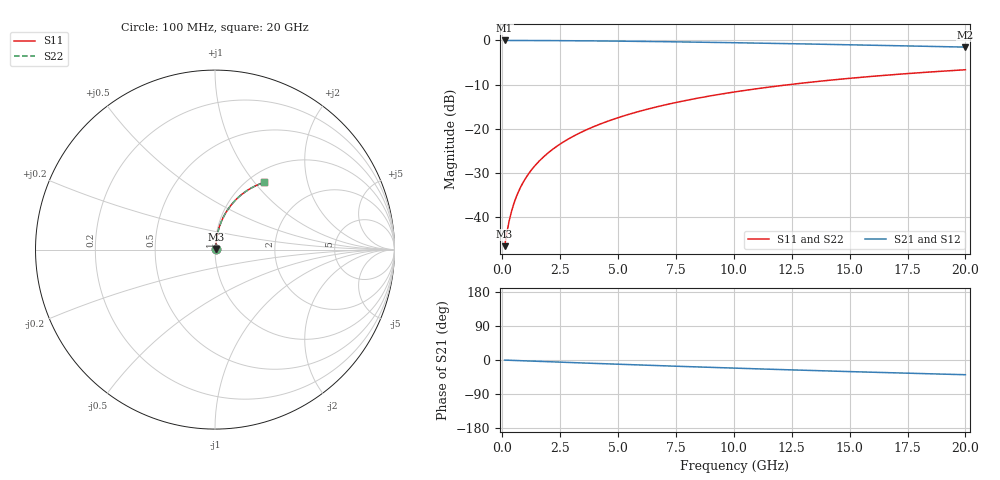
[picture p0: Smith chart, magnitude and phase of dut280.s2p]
! Touchstone file exported from HFSS 2024.1.0
!  File:  C:/UserFiles/LocalFiles/RDL_TSV_Batchsim/temp_RDL_top_280_1778690034.aedt
!  Generated:  12:36:17 AM May 14, 2026
!  Design:  RDL_top
!  Project:  temp_RDL_top_280_1778690034
!  Setup:  Setup1
!  Solution:  Sweep
! Variables:
!  dtsv = 10.80580581um
!  hbump = 3um
!  htsv = 64.88um
!  ldown = 100um
!  lrdl = 457.86um
!  p = 40
!  p1 = 56.97um
!  rhole = 1um
!  t = 450um
!  tdown = 3.915915916um
!  trdl = 3.58um
!  wdown = 15.38538539um
!  wrdl = 12.14um
# GHz S MA R 50.000000
! Terminal data exported
! Port[1] = Box2_T1
! Port[2] = Box2_T2
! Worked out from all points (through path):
!   200 points, 100 MHz to 20 GHz, reference 50 ohm
!   highest |S21| = -0.03 dB at 100 MHz (marker M1); lowest = -1.5 dB at 20 GHz (marker M2)
!   group delay of S21, straight-line fit = 5.39 ps
!   lowest |S11| = -46.5 dB at 100 MHz (marker M3), VSWR 1.01, Z = 50.4 + j0.279 ohm
!   |S11| at or under -10 dB: start of sweep to 12.41 GHz
!   |S22| runs from -46.5 to -6.7 dB; largest |S21 - S12| = 4.3e-15
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0.1  0.004714 35.9  0.9962 -0.2  0.9962 -0.2  0.004714 35.9
! Gamma 0 0 0 0
! Port Impedance 50 0 50 0
0.2  0.006749 54.9  0.9961 -0.5  0.9961 -0.5  0.006749 54.9
0.3  0.009162 64.2  0.996 -0.7  0.996 -0.7  0.009162 64.2
0.4  0.0117 69.4  0.9959 -0.9  0.9959 -0.9  0.0117 69.4
0.5  0.01429 72.7  0.9958 -1.2  0.9958 -1.2  0.01429 72.7
0.6  0.0169 74.9  0.9956 -1.4  0.9956 -1.4  0.0169 74.9
0.8  0.02215 77.7  0.9954 -1.8  0.9954 -1.8  0.02215 77.7
1.1  0.03007 79.9  0.9949 -2.5  0.9949 -2.5  0.03007 79.9
1.5  0.04067 81.2  0.9941 -3.4  0.9941 -3.4  0.04067 81.2
1.8  0.04864 81.6  0.9933 -4.1  0.9933 -4.1  0.04864 81.6
2.1  0.05663 81.7  0.9925 -4.8  0.9925 -4.8  0.05663 81.7
2.7  0.0726 81.6  0.9905 -6.1  0.9905 -6.1  0.0726 81.6
3.5  0.09387 80.9  0.9872 -7.9  0.9872 -7.9  0.09387 80.9
4.2  0.1124 80.0  0.9836 -9.4  0.9836 -9.4  0.1124 80.0
5  0.1335 78.9  0.979 -11.2  0.979 -11.2  0.1335 78.9
5.9  0.1571 77.5  0.9731 -13.1  0.9731 -13.1  0.1571 77.5
6.8  0.1803 76.0  0.9666 -15.0  0.9666 -15.0  0.1803 76.0
8.3  0.2184 73.4  0.9546 -18.0  0.9546 -18.0  0.2184 73.4
10.1  0.2625 70.2  0.9387 -21.6  0.9387 -21.6  0.2625 70.2
13.4  0.3381 64.4  0.9067 -27.8  0.9067 -27.8  0.3381 64.4
16.7  0.4056 58.9  0.8725 -33.5  0.8725 -33.5  0.4056 58.9
20  0.4648 53.7  0.8377 -38.8  0.8377 -38.8  0.4648 53.7
